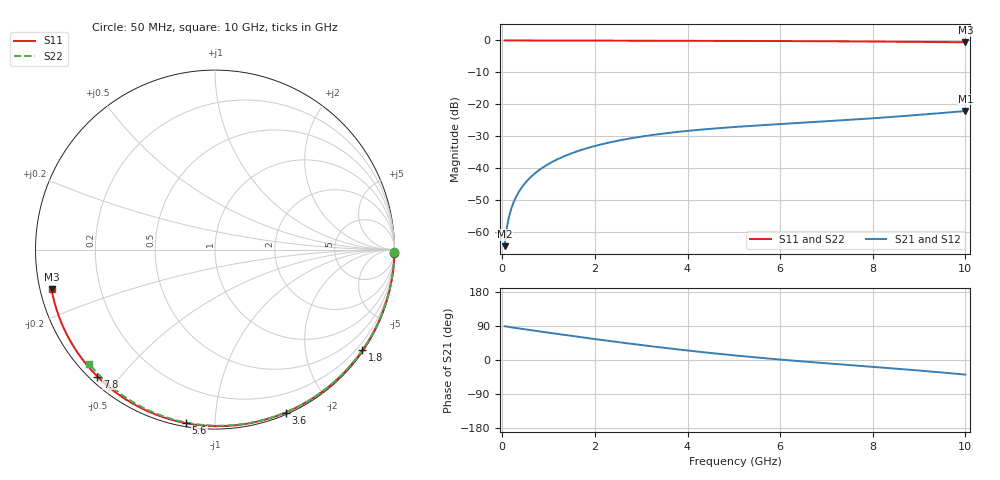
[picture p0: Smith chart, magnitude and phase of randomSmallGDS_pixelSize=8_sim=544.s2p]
! freq	dB(S11)	phase(S11)	dB(S12)	phase(S12)
!  dB(S21)	phase(S21)	dB(S22)	phase(S22)
!S-par simulation data
#  GHz  S  DB  R 50
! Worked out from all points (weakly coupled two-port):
!   200 points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, 50 MHz to 10 GHz, reference 50 ohm
!   highest |S21| = -22.13 dB at 10 GHz (marker M1); lowest = -64.5 dB at 50 MHz (marker M2)
!   lowest |S11| = -0.6 dB at 10 GHz (marker M3), VSWR 30.92, Z = 1.64 - j6 ohm
!   |S11| at or under -10 dB: nowhere
!   |S22| runs from -0.5 to 0.0 dB; largest |S21 - S12| = 0
!   S11 on the Smith chart (normalised r, x): 50 MHz: open; 1.8 GHz: 0.03, -3.24; 3.6 GHz: 0.02, -1.52; 5.6 GHz: 0.02, -0.85; 7.8 GHz: 0.02, -0.44; 10 GHz: 0.03, -0.12
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0.05  -0.00 -1.0  -64.46 89.0  -64.46 89.0  -0.00 -0.8
0.1  -0.00 -1.9  -58.45 88.0  -58.45 88.0  -0.00 -1.6
0.15  -0.00 -2.9  -54.94 87.1  -54.94 87.1  -0.00 -2.4
0.2  -0.00 -3.9  -52.45 86.1  -52.45 86.1  -0.00 -3.2
0.35  -0.01 -6.8  -47.63 83.4  -47.63 83.4  -0.00 -5.7
0.5  -0.01 -9.7  -44.57 80.7  -44.57 80.7  -0.01 -8.1
0.7  -0.02 -13.5  -41.71 77.2  -41.71 77.2  -0.01 -11.3
1  -0.02 -19.3  -38.69 72.1  -38.69 72.1  -0.02 -16.1
1.35  -0.03 -25.9  -36.20 66.1  -36.20 66.1  -0.03 -21.6
1.75  -0.04 -33.4  -34.11 59.4  -34.11 59.4  -0.04 -27.9
1.8  -0.05 -34.3  -33.89 58.5  -33.89 58.5  -0.04 -28.6
2.6  -0.07 -49.0  -31.12 45.6  -31.12 45.6  -0.06 -40.9
3.4  -0.09 -63.1  -29.32 33.5  -29.32 33.5  -0.07 -52.9
3.6  -0.09 -66.6  -28.96 30.6  -28.96 30.6  -0.08 -55.8
4.3  -0.12 -78.4  -27.93 21.1  -27.93 21.1  -0.10 -65.8
5.05  -0.15 -90.7  -27.09 11.7  -27.09 11.7  -0.12 -76.2
5.6  -0.17 -99.4  -26.56 5.4  -26.56 5.4  -0.14 -83.6
6.7  -0.23 -116.3  -25.61 -5.8  -25.61 -5.8  -0.20 -97.9
7.8  -0.32 -132.8  -24.60 -16.2  -24.60 -16.2  -0.27 -111.5
8.35  -0.37 -141.0  -24.03 -21.4  -24.03 -21.4  -0.31 -118.2
9.2  -0.46 -153.9  -23.08 -29.9  -23.08 -29.9  -0.39 -128.2
10  -0.56 -166.3  -22.13 -38.5  -22.13 -38.5  -0.48 -137.6
